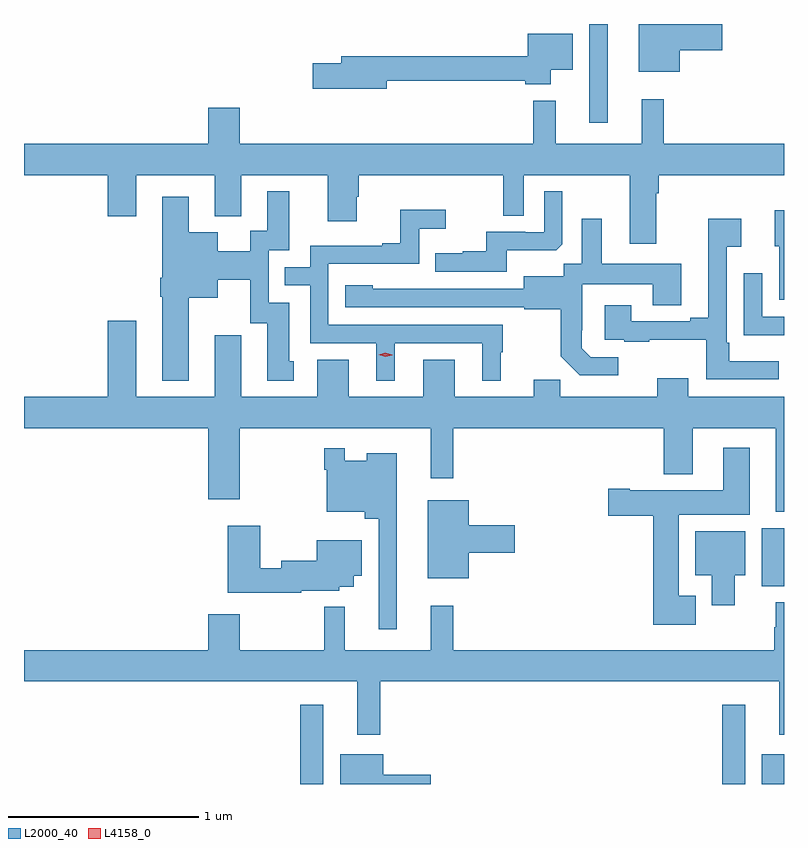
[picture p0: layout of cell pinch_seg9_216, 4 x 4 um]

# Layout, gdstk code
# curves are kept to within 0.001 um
import gdstk
lib = gdstk.Library(unit=1e-6, precision=1e-09)
def R(c, l, rs):  # rectangles x0, y0, x1, y1
    for r in rs: c.add(gdstk.rectangle(r[:2], r[2:], *l))
def P(c, l, *ps):  # polygons
    for p in ps: c.add(gdstk.Polygon(p, *l))
L2000_40 = (2000, 40)
L4158_0 = (4158, 0)

pinch_seg9_216 = lib.new_cell('pinch_seg9_216')
R(pinch_seg9_216, L2000_40, [(585.072,1231.843,585.193,1232.26), (587.292,1231.843,587.413,1232.26), (587.501,1231.843,587.617,1231.999), (587.501,1232.885,587.617,1233.19), (586.593,1235.322,586.69,1235.843)])
P(pinch_seg9_216, L2000_40, [(587.068,1235.705),(587.293,1235.705),(587.293,1235.843),(586.853,1235.843),(586.853,1235.591),(587.068,1235.591)],
  [(585.526,1235.544),(586.256,1235.544),(586.256,1235.525),(586.39,1235.525),(586.39,1235.603),(586.504,1235.603),(586.504,1235.791),(586.268,1235.791),(586.268,1235.672),(585.287,1235.672),(585.287,1235.636),(585.138,1235.636),(585.138,1235.501),(585.526,1235.501)],
  [(586.945,1234.952),(586.958,1234.952),(586.958,1235.048),(587.617,1235.048),(587.617,1235.212),(586.985,1235.212),(586.985,1235.446),(586.868,1235.446),(586.868,1235.212),(586.415,1235.212),(586.415,1235.44),(586.297,1235.44),(586.297,1235.212),(584.752,1235.212),(584.752,1235.401),(584.588,1235.401),(584.588,1235.212),(583.617,1235.212),(583.617,1235.048),(584.057,1235.048),(584.057,1234.83),(584.209,1234.83),(584.209,1235.048),(584.621,1235.048),(584.621,1234.832),(584.761,1234.832),(584.761,1235.048),(585.215,1235.048),(585.215,1234.806),(585.367,1234.806),(585.367,1234.935),(585.38,1234.935),(585.38,1235.048),(586.14,1235.048),(586.14,1234.834),(586.248,1234.834),(586.248,1235.048),(586.805,1235.048),(586.805,1234.686),(586.945,1234.686)],
  [(584.485,1234.403),(584.638,1234.403),(584.638,1234.496),(584.808,1234.496),(584.808,1234.269),(584.897,1234.269),(584.897,1233.966),(585.037,1233.966),(585.037,1234.068),(585.013,1234.068),(585.013,1234.377),(584.904,1234.377),(584.904,1234.653),(585.013,1234.653),(585.013,1234.963),(584.897,1234.963),(584.897,1234.754),(584.807,1234.754),(584.807,1234.648),(584.638,1234.648),(584.638,1234.747),(584.485,1234.747),(584.485,1234.933),(584.345,1234.933),(584.345,1234.507),(584.333,1234.507),(584.333,1234.407),(584.345,1234.407),(584.345,1233.965),(584.485,1233.965)],
  [(586.159,1234.652),(586.417,1234.652),(586.449,1234.683),(586.449,1234.963),(586.356,1234.963),(586.356,1234.746),(586.256,1234.746),(586.256,1234.749),(586.049,1234.749),(586.049,1234.648),(585.925,1234.648),(585.925,1234.636),(585.781,1234.636),(585.781,1234.539),(586.159,1234.539)],
  [(585.568,1234.164),(586.028,1234.164),(586.028,1233.965),(586.126,1233.965),(586.126,1234.116),(586.138,1234.116),(586.138,1234.26),(585.219,1234.26),(585.219,1234.581),(585.696,1234.581),(585.696,1234.766),(585.838,1234.766),(585.838,1234.865),(585.598,1234.865),(585.598,1234.69),(585.503,1234.69),(585.503,1234.677),(585.123,1234.677),(585.123,1234.563),(584.989,1234.563),(584.989,1234.467),(585.123,1234.467),(585.123,1234.164),(585.47,1234.164),(585.47,1233.965),(585.568,1233.965)],
  [(587.617,1234.862),(587.567,1234.862),(587.567,1234.674),(587.592,1234.674),(587.592,1234.392),(587.617,1234.392)],
  [(587.59,1234.069),(587.329,1234.069),(587.329,1234.165),(587.316,1234.165),(587.316,1234.67),(587.392,1234.67),(587.392,1234.819),(587.219,1234.819),(587.219,1234.297),(587.123,1234.297),(587.123,1234.278),(586.813,1234.278),(586.813,1234.363),(586.673,1234.363),(586.673,1234.182),(586.777,1234.182),(586.777,1234.17),(586.909,1234.17),(586.909,1234.181),(587.208,1234.181),(587.208,1233.972),(587.59,1233.972)],
  [(586.744,1234.089),(586.599,1234.089),(586.552,1234.136),(586.552,1234.231),(586.554,1234.231),(586.554,1234.472),(586.925,1234.472),(586.925,1234.363),(587.077,1234.363),(587.077,1234.582),(586.657,1234.582),(586.657,1234.819),(586.553,1234.819),(586.553,1234.58),(586.458,1234.58),(586.458,1234.516),(586.247,1234.516),(586.247,1234.449),(585.453,1234.45),(585.453,1234.468),(585.309,1234.468),(585.309,1234.353),(586.251,1234.353),(586.251,1234.341),(586.443,1234.341),(586.443,1234.095),(586.543,1233.995),(586.744,1233.995)],
  [(587.617,1234.302),(587.502,1234.302),(587.502,1234.531),(587.406,1234.531),(587.406,1234.205),(587.617,1234.205)],
  [(587.617,1233.88),(587.113,1233.88),(587.113,1233.979),(586.949,1233.979),(586.949,1233.88),(586.439,1233.88),(586.439,1233.971),(586.301,1233.971),(586.301,1233.88),(585.883,1233.88),(585.883,1234.075),(585.719,1234.075),(585.719,1233.88),(585.325,1233.88),(585.325,1234.075),(585.161,1234.075),(585.161,1233.88),(584.761,1233.88),(584.761,1234.204),(584.621,1234.204),(584.621,1233.88),(584.209,1233.88),(584.209,1234.282),(584.057,1234.282),(584.057,1233.88),(583.617,1233.88),(583.617,1233.716),(584.588,1233.716),(584.588,1233.342),(584.752,1233.342),(584.752,1233.716),(585.758,1233.716),(585.758,1233.453),(585.875,1233.453),(585.875,1233.716),(586.985,1233.716),(586.985,1233.473),(587.137,1233.473),(587.137,1233.716),(587.573,1233.716),(587.573,1233.275),(587.617,1233.275)],
  [(587.152,1232.833),(587.062,1232.833),(587.062,1233.26),(587.437,1233.26),(587.437,1233.613),(587.297,1233.613),(587.297,1233.388),(586.804,1233.388),(586.804,1233.396),(586.692,1233.396),(586.692,1233.254),(586.928,1233.254),(586.928,1232.681),(587.152,1232.681)],
  [(585.58,1233.583),(585.422,1233.583),(585.422,1233.544),(585.306,1233.544),(585.306,1233.61),(585.198,1233.61),(585.198,1233.497),(585.21,1233.497),(585.21,1233.275),(585.41,1233.275),(585.41,1233.239),(585.483,1233.239),(585.483,1232.658),(585.58,1232.658)],
  [(585.958,1233.059),(586.201,1233.059),(586.201,1233.206),(585.958,1233.206),(585.958,1233.337),(585.743,1233.337),(585.743,1232.927),(585.958,1232.927)],
  [(585.076,1232.861),(585.276,1232.861),(585.276,1232.882),(585.352,1232.882),(585.352,1232.939),(585.394,1232.939),(585.394,1233.127),(585.158,1233.127),(585.158,1233.017),(584.972,1233.017),(584.972,1232.978),(584.86,1232.978),(584.86,1233.202),(584.69,1233.202),(584.69,1232.849),(585.076,1232.849)],
  [(587.359,1232.942),(587.413,1232.942),(587.413,1233.172),(587.15,1233.172),(587.15,1232.942),(587.237,1232.942),(587.237,1232.784),(587.359,1232.784)],
  [(585.493,1232.384),(587.591,1232.384),(587.591,1232.103),(587.617,1232.103),(587.617,1232.8),(587.573,1232.8),(587.573,1232.669),(587.566,1232.669),(587.566,1232.548),(585.875,1232.548),(585.875,1232.782),(585.758,1232.782),(585.758,1232.548),(585.305,1232.548),(585.305,1232.776),(585.196,1232.776),(585.196,1232.548),(584.752,1232.548),(584.752,1232.737),(584.588,1232.737),(584.588,1232.548),(583.617,1232.548),(583.617,1232.384),(585.371,1232.384),(585.371,1232.103),(585.493,1232.103)],
  [(585.757,1231.893),(585.508,1231.893),(585.508,1231.999),(585.281,1231.999),(585.281,1231.843),(585.757,1231.843)])
P(pinch_seg9_216, L4158_0, [(585.519,1234.092),(585.483,1234.103),(585.483,1234.103),(585.483,1234.103),(585.519,1234.112),(585.555,1234.101),(585.555,1234.1),(585.555,1234.1)])

lib.write_gds('pinch_seg9_216.gds')
